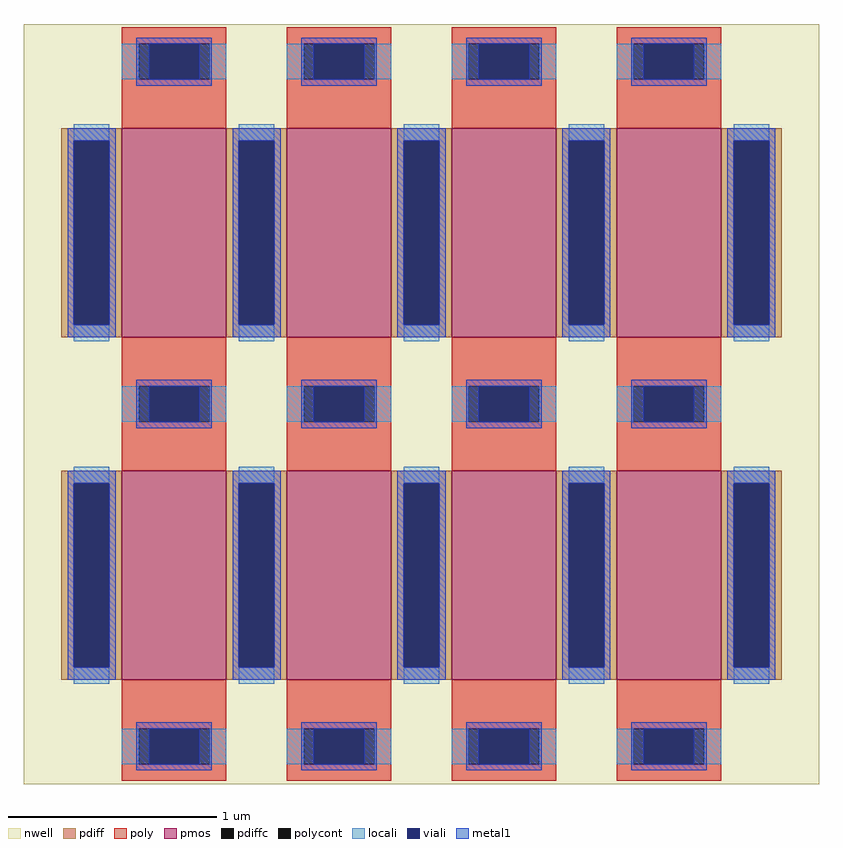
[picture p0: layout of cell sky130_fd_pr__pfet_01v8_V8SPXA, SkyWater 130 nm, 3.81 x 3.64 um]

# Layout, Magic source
magic
tech sky130A
magscale 1 2
<< nwell >>
rect -381 -364 381 364
<< pmos >>
rect -287 64 -187 264
rect -129 64 -29 264
rect 29 64 129 264
rect 187 64 287 264
rect -287 -264 -187 -64
rect -129 -264 -29 -64
rect 29 -264 129 -64
rect 187 -264 287 -64
<< pdiff >>
rect -345 252 -287 264
rect -345 76 -333 252
rect -299 76 -287 252
rect -345 64 -287 76
rect -187 252 -129 264
rect -187 76 -175 252
rect -141 76 -129 252
rect -187 64 -129 76
rect -29 252 29 264
rect -29 76 -17 252
rect 17 76 29 252
rect -29 64 29 76
rect 129 252 187 264
rect 129 76 141 252
rect 175 76 187 252
rect 129 64 187 76
rect 287 252 345 264
rect 287 76 299 252
rect 333 76 345 252
rect 287 64 345 76
rect -345 -76 -287 -64
rect -345 -252 -333 -76
rect -299 -252 -287 -76
rect -345 -264 -287 -252
rect -187 -76 -129 -64
rect -187 -252 -175 -76
rect -141 -252 -129 -76
rect -187 -264 -129 -252
rect -29 -76 29 -64
rect -29 -252 -17 -76
rect 17 -252 29 -76
rect -29 -264 29 -252
rect 129 -76 187 -64
rect 129 -252 141 -76
rect 175 -252 187 -76
rect 129 -264 187 -252
rect 287 -76 345 -64
rect 287 -252 299 -76
rect 333 -252 345 -76
rect 287 -264 345 -252
<< pdiffc >>
rect -333 76 -299 252
rect -175 76 -141 252
rect -17 76 17 252
rect 141 76 175 252
rect 299 76 333 252
rect -333 -252 -299 -76
rect -175 -252 -141 -76
rect -17 -252 17 -76
rect 141 -252 175 -76
rect 299 -252 333 -76
<< poly >>
rect -287 345 -187 361
rect -287 311 -271 345
rect -203 311 -187 345
rect -287 264 -187 311
rect -129 345 -29 361
rect -129 311 -113 345
rect -45 311 -29 345
rect -129 264 -29 311
rect 29 345 129 361
rect 29 311 45 345
rect 113 311 129 345
rect 29 264 129 311
rect 187 345 287 361
rect 187 311 203 345
rect 271 311 287 345
rect 187 264 287 311
rect -287 17 -187 64
rect -287 -17 -271 17
rect -203 -17 -187 17
rect -287 -64 -187 -17
rect -129 17 -29 64
rect -129 -17 -113 17
rect -45 -17 -29 17
rect -129 -64 -29 -17
rect 29 17 129 64
rect 29 -17 45 17
rect 113 -17 129 17
rect 29 -64 129 -17
rect 187 17 287 64
rect 187 -17 203 17
rect 271 -17 287 17
rect 187 -64 287 -17
rect -287 -311 -187 -264
rect -287 -345 -271 -311
rect -203 -345 -187 -311
rect -287 -361 -187 -345
rect -129 -311 -29 -264
rect -129 -345 -113 -311
rect -45 -345 -29 -311
rect -129 -361 -29 -345
rect 29 -311 129 -264
rect 29 -345 45 -311
rect 113 -345 129 -311
rect 29 -361 129 -345
rect 187 -311 287 -264
rect 187 -345 203 -311
rect 271 -345 287 -311
rect 187 -361 287 -345
<< polycont >>
rect -271 311 -203 345
rect -113 311 -45 345
rect 45 311 113 345
rect 203 311 271 345
rect -271 -17 -203 17
rect -113 -17 -45 17
rect 45 -17 113 17
rect 203 -17 271 17
rect -271 -345 -203 -311
rect -113 -345 -45 -311
rect 45 -345 113 -311
rect 203 -345 271 -311
<< locali >>
rect -287 311 -271 345
rect -203 311 -187 345
rect -129 311 -113 345
rect -45 311 -29 345
rect 29 311 45 345
rect 113 311 129 345
rect 187 311 203 345
rect 271 311 287 345
rect -333 252 -299 268
rect -333 60 -299 76
rect -175 252 -141 268
rect -175 60 -141 76
rect -17 252 17 268
rect -17 60 17 76
rect 141 252 175 268
rect 141 60 175 76
rect 299 252 333 268
rect 299 60 333 76
rect -287 -17 -271 17
rect -203 -17 -187 17
rect -129 -17 -113 17
rect -45 -17 -29 17
rect 29 -17 45 17
rect 113 -17 129 17
rect 187 -17 203 17
rect 271 -17 287 17
rect -333 -76 -299 -60
rect -333 -268 -299 -252
rect -175 -76 -141 -60
rect -175 -268 -141 -252
rect -17 -76 17 -60
rect -17 -268 17 -252
rect 141 -76 175 -60
rect 141 -268 175 -252
rect 299 -76 333 -60
rect 299 -268 333 -252
rect -287 -345 -271 -311
rect -203 -345 -187 -311
rect -129 -345 -113 -311
rect -45 -345 -29 -311
rect 29 -345 45 -311
rect 113 -345 129 -311
rect 187 -345 203 -311
rect 271 -345 287 -311
<< viali >>
rect -261 311 -213 345
rect -103 311 -55 345
rect 55 311 103 345
rect 213 311 261 345
rect -333 76 -299 252
rect -175 76 -141 252
rect -17 76 17 252
rect 141 76 175 252
rect 299 76 333 252
rect -261 -17 -213 17
rect -103 -17 -55 17
rect 55 -17 103 17
rect 213 -17 261 17
rect -333 -252 -299 -76
rect -175 -252 -141 -76
rect -17 -252 17 -76
rect 141 -252 175 -76
rect 299 -252 333 -76
rect -261 -345 -213 -311
rect -103 -345 -55 -311
rect 55 -345 103 -311
rect 213 -345 261 -311
<< metal1 >>
rect -273 345 -201 351
rect -273 311 -261 345
rect -213 311 -201 345
rect -273 305 -201 311
rect -115 345 -43 351
rect -115 311 -103 345
rect -55 311 -43 345
rect -115 305 -43 311
rect 43 345 115 351
rect 43 311 55 345
rect 103 311 115 345
rect 43 305 115 311
rect 201 345 273 351
rect 201 311 213 345
rect 261 311 273 345
rect 201 305 273 311
rect -339 252 -293 264
rect -339 76 -333 252
rect -299 76 -293 252
rect -339 64 -293 76
rect -181 252 -135 264
rect -181 76 -175 252
rect -141 76 -135 252
rect -181 64 -135 76
rect -23 252 23 264
rect -23 76 -17 252
rect 17 76 23 252
rect -23 64 23 76
rect 135 252 181 264
rect 135 76 141 252
rect 175 76 181 252
rect 135 64 181 76
rect 293 252 339 264
rect 293 76 299 252
rect 333 76 339 252
rect 293 64 339 76
rect -273 17 -201 23
rect -273 -17 -261 17
rect -213 -17 -201 17
rect -273 -23 -201 -17
rect -115 17 -43 23
rect -115 -17 -103 17
rect -55 -17 -43 17
rect -115 -23 -43 -17
rect 43 17 115 23
rect 43 -17 55 17
rect 103 -17 115 17
rect 43 -23 115 -17
rect 201 17 273 23
rect 201 -17 213 17
rect 261 -17 273 17
rect 201 -23 273 -17
rect -339 -76 -293 -64
rect -339 -252 -333 -76
rect -299 -252 -293 -76
rect -339 -264 -293 -252
rect -181 -76 -135 -64
rect -181 -252 -175 -76
rect -141 -252 -135 -76
rect -181 -264 -135 -252
rect -23 -76 23 -64
rect -23 -252 -17 -76
rect 17 -252 23 -76
rect -23 -264 23 -252
rect 135 -76 181 -64
rect 135 -252 141 -76
rect 175 -252 181 -76
rect 135 -264 181 -252
rect 293 -76 339 -64
rect 293 -252 299 -76
rect 333 -252 339 -76
rect 293 -264 339 -252
rect -273 -311 -201 -305
rect -273 -345 -261 -311
rect -213 -345 -201 -311
rect -273 -351 -201 -345
rect -115 -311 -43 -305
rect -115 -345 -103 -311
rect -55 -345 -43 -311
rect -115 -351 -43 -345
rect 43 -311 115 -305
rect 43 -345 55 -311
rect 103 -345 115 -311
rect 43 -351 115 -345
rect 201 -311 273 -305
rect 201 -345 213 -311
rect 261 -345 273 -311
rect 201 -351 273 -345
<< properties >>
string gencell sky130_fd_pr__pfet_01v8
string library sky130
string parameters w 1 l 0.5 m 2 nf 4 diffcov 100 polycov 100 guard 0 glc 1 grc 1 gtc 1 gbc 1 tbcov 100 rlcov 100 topc 1 botc 1 poverlap 1 doverlap 1 lmin 0.15 wmin 0.42 compatible {sky130_fd_pr__pfet_01v8  sky130_fd_pr__pfet_01v8_lvt sky130_fd_pr__pfet_01v8_hvt  sky130_fd_pr__pfet_g5v0d10v5} full_metal 1 viasrc 100 viadrn 100 viagate 70 viagb 0 viagr 0 viagl 0 viagt 0
<< end >>
